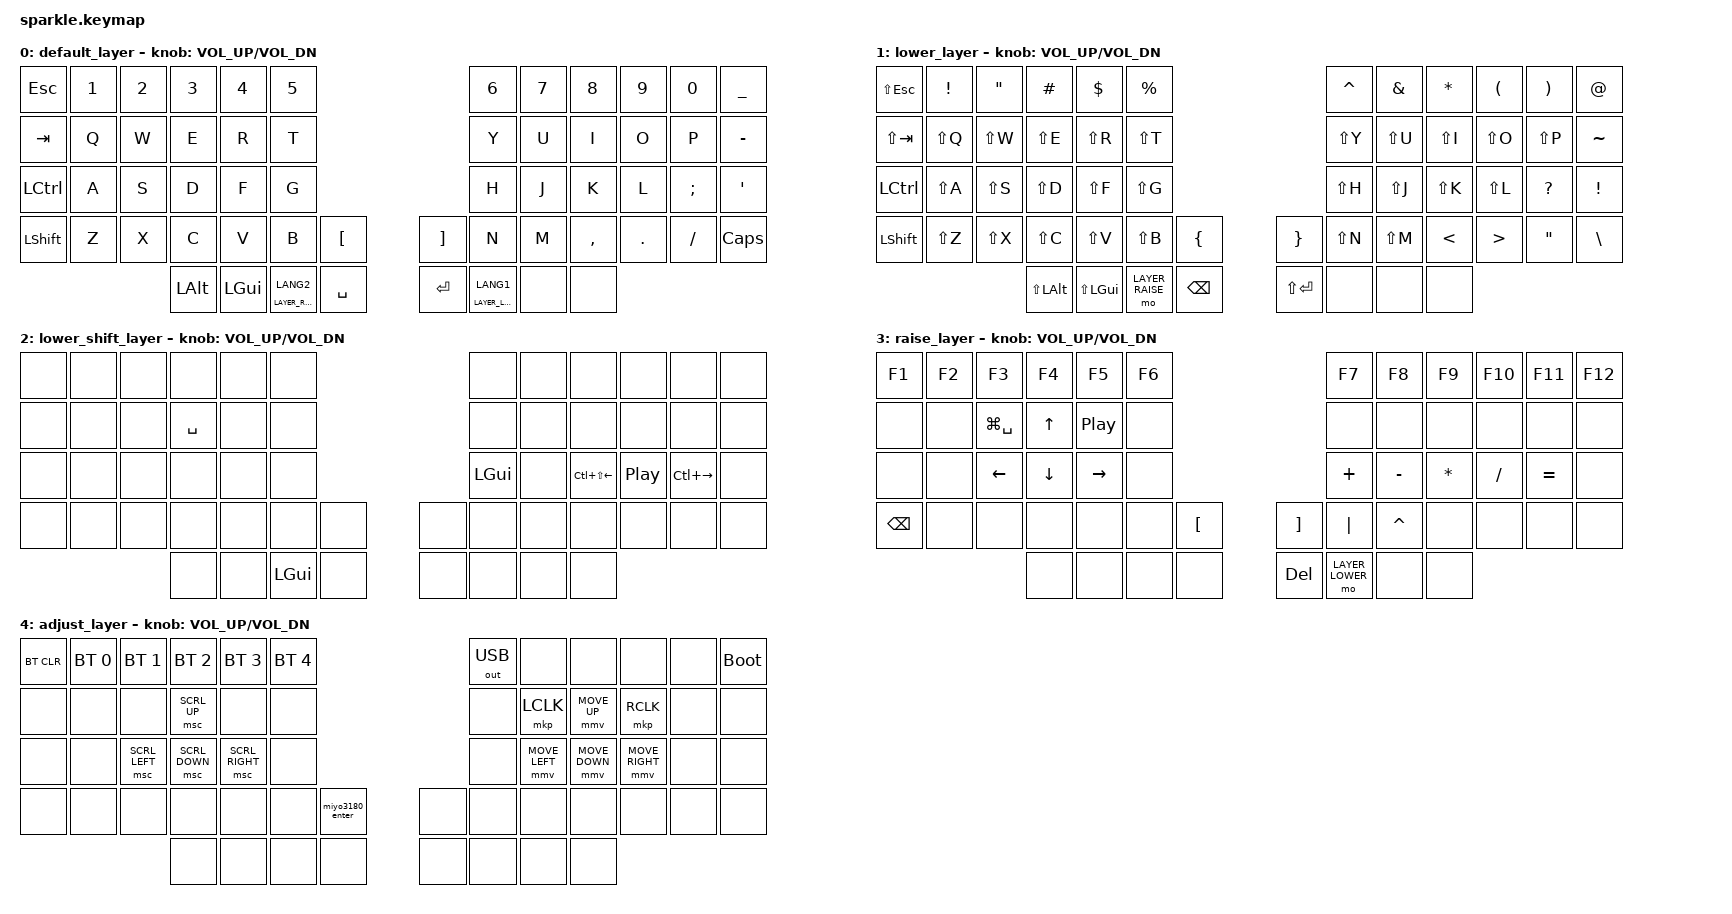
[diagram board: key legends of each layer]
/*
 * Copyright (c) 2020 The ZMK Contributors
 *
 * SPDX-License-Identifier: MIT
 */

#include <behaviors.dtsi>
#include <dt-bindings/zmk/keys.h>
#include <dt-bindings/zmk/bt.h>
#include <dt-bindings/zmk/ext_power.h>
#include <dt-bindings/zmk/outputs.h>

// Mouse emulation defaults (see: https://zmk.dev/docs/keymaps/behaviors/mouse-emulation)
// ZMK default MOVE is 600; bumping a bit makes cursor control usable but not jumpy.
#define ZMK_POINTING_DEFAULT_MOVE_VAL 250
// ZMK default SCRL is 10; keep a slightly faster step.
#define ZMK_POINTING_DEFAULT_SCRL_VAL 20
#include <dt-bindings/zmk/pointing.h>




// 記号系は ZMK 標準キーコード（US配列相当）を直接使う

// ZMK layer numbers are 0-based.
#define LAYER_DEFAULT      0
#define LAYER_LOWER        1
#define LAYER_LOWER_SHIFT  2
#define LAYER_RAISE        3
#define LAYER_ADJUST       4

// &lt (layer-tap) の判定時間(ミリ秒)。短くすると「ホールド」になりやすく、長くすると「タップ」になりやすい
#define LT_LANG_TAPPING_TERM_MS 160





/ {
    behaviors {
        miyo3180_enter: miyo3180_enter {
            compatible = "zmk,behavior-macro";
            label = "MIYO3180_ENTER";
            #binding-cells = <0>;
            wait-ms = <20>;
            tap-ms = <20>;
            bindings = <
                &kp M
                &kp I
                &kp Y
                &kp O
                &kp N3
                &kp N1
                &kp N8
                &kp N0
                &kp RET
            >;
        };

        // &lt LAYER_RAISE LANG2 / &lt LAYER_LOWER LANG1 の判定時間を個別に調整したい場合は
        // ここ( tapping-term-ms )を変更して、下の keymap では &lt_* を使う
        lt_raise_lang2: lt_raise_lang2 {
            compatible = "zmk,behavior-hold-tap";
            label = "LT_RAISE_LANG2";
            #binding-cells = <2>;
            tapping-term-ms = <LT_LANG_TAPPING_TERM_MS>;
            flavor = "tap-preferred";
            bindings = <&mo &kp>;
        };

        lt_lower_lang1: lt_lower_lang1 {
            compatible = "zmk,behavior-hold-tap";
            label = "LT_LOWER_LANG1";
            #binding-cells = <2>;
            tapping-term-ms = <LT_LANG_TAPPING_TERM_MS>;
            flavor = "tap-preferred";
            bindings = <&mo &kp>;
        };
    };

     conditional_layers {
        compatible = "zmk,conditional-layers";

        tri_layer {
            if-layers = <LAYER_LOWER LAYER_RAISE>;
            then-layer = <LAYER_ADJUST>;
        };
    };

    keymap {
        compatible = "zmk,keymap";

        default_layer {
// ------------------------------------------------------------------------------------------------------------
// |  ESC  |  1  |  2  |  3   |  4   |  5   |                   |  6   |  7    |  8    |  9   |   0   |   `   |J
// |  TAB  |  Q  |  W  |  E   |  R   |  T   |                   |  Y   |  U    |  I    |  O   |   P   |   -   |@
// |  CTRL |  A  |  S  |  D   |  F   |  G   |                   |  H   |  J    |  K    |  L   |   ;   |   '   |
// | SHIFT |  Z  |  X  |  C   |  V   |  B   |   "["  |  |  "]"  |  N   |  M    |  ,    |  .   |   /   | SHIFT |
//                     | opt  | com  | LOWER|  SPACE |  | ENTER | RAISE| BSPC  | com   |
            bindings = <
                &kp ESC   &kp N1    &kp N2    &kp N3          &kp N4        &kp N5                       &kp N6        &kp N7        &kp N8       &kp N9      &kp N0        &kp UNDERSCORE
                &kp TAB   &kp Q     &kp W     &kp E           &kp R         &kp T                        &kp Y         &kp U         &kp I        &kp O       &kp P         &kp MINUS
                &kp LCTRL &kp A     &kp S     &kp D           &kp F         &kp G                        &kp H         &kp J         &kp K        &kp L       &kp SEMI      &kp SINGLE_QUOTE
                &kp LSHIFT &kp Z     &kp X     &kp C           &kp V         &kp B      &kp LEFT_BRACKET  &kp RIGHT_BRACKET &kp N     &kp M       &kp COMMA     &kp DOT     &kp FSLH &kp CAPS
                                           &kp LALT &kp LGUI  &lt_raise_lang2 LAYER_RAISE LANG2 &kp SPACE   &kp RET           &lt_lower_lang1 LAYER_LOWER LANG1 &none &none
            >;

            sensor-bindings = <&inc_dec_kp C_VOL_UP C_VOL_DN>;
        };

        lower_layer {
// -------------------------------------------------SHIFT-------------------------------------------------------lj
// | BTCLR | BT1 | BT2 |  BT3 |  BT4 |  BT5 |                   |      |       |       |      |       |       |o_o8ooo9k___@@??@@@
// |  F1   |  F2 |  F3 |  F4  |  F5  |  F6  |                   |  F7  |  F8   |  F9   |  F10 |  F11  |  F12  |sDDDDKKKK
// | BTCLR | BT1 | BT2 |  BT3 |  BT4 |  BT5 |                   |      |       |       |      |       |       |LJJ?J?JP_AMPERSAND
// |  F1   |  F2 |  F3 |  F4  |  F5  |  F6  |                   |  F7  |  F8   |  F9   |  F10 |  F11  |  F12  |
// |   `   |  !  |  @  |  #   |  $   |  %   |                   |  ^   |  &    |  *    |  (   |   )   |   ~   |・
// |       |     |     |      |      |      |        |  |       |      |  _    |  +    |  {   |   }   |  "|"  |######$$$$$$$%%%%%%^^^^^^^^^^^^^^^^^^^^^^^^
//                     |      |      |      |        |  |       |      |       |       |
            bindings = <
                &kp LS(ESC)   &kp EXCL    &kp DOUBLE_QUOTES         &kp HASH        &kp DLLR      &kp PRCNT                                       &kp CARET            &kp AMPERSAND     &kp ASTERISK       &kp LEFT_PARENTHESIS    &kp RIGHT_PARENTHESIS   &kp AT
                &kp LS(TAB)   &kp LS(Q)   &kp LS(W)   &kp LS(E)       &kp LS(R)     &kp LS(T)                                       &kp LS(Y)     &kp LS(U)     &kp LS(I)     &kp LS(O)   &kp LS(P)      &kp TILDE
                &kp LCTRL &kp LS(A)   &kp LS(S)   &kp LS(D)       &kp LS(F)     &kp LS(G)                                       &kp LS(H)     &kp LS(J)     &kp LS(K)     &kp LS(L)   &kp QMARK &kp EXCL
                &kp LSHIFT &kp LS(Z)   &kp LS(X)   &kp LS(C)       &kp LS(V)     &kp LS(B)    &kp LEFT_BRACE    &kp RIGHT_BRACE  &kp LS(N)    &kp LS(M)   &kp LT          &kp GT       &kp DOUBLE_QUOTES &kp BACKSLASH
                                                  &kp LS(LALT) &kp LS(LGUI)        &mo LAYER_RAISE     &kp BSPC     &kp LS(RET)            &none      &none         &none
            >;

            sensor-bindings = <&inc_dec_kp C_VOL_UP C_VOL_DN>;
    };                                  

        lower_shift_layer {
// ------------------------------------------------------------------------------------------------------------
// |      |     |     |      |      |      |                   |      |      |      |      |      |       |
// |      |     |     |      |      |      |                   |      |      |      |      |      |       |
// |      |     |     |      |      |      |                   |      |      |      |      |      |       |
// |      |     |     |      |      |      |        |  |       |      |      |      |      |      |       |
//                    |      |      |      |        |  |       |      |      |      |
            bindings = <
                &none &none &none &none &none &none   &none &none &none &none &none &none
                &none &none &none &kp SPACE &none &none   &none &none &none &none &none &none
                 &none &none &none &none &none &none  &kp LGUI &none &kp LC(LS(LEFT)) &kp C_PP &kp LC(RIGHT) &none  
                &none &none &none &none &none &none   &none &none &none &none &none &none &none &none
                                     &none &none &kp LGUI    &none &none &none &none &none
            >;

            sensor-bindings = <&inc_dec_kp C_VOL_UP C_VOL_DN>;
        };

        raise_layer {
// ------------------------------------------------------------------------------------------------------------
// |       |     |     |      |      |      |                   |      |       |       |      |       |       |a
// |   `   |  1  |  2  |  3   |  4   |  5   |                   |  6   |   7   |   8   |  9   |   0   |       |c
// |   F1  |  F2 |  F3 |  F4  |  F5  |  F6  |                   |      |   <-  |   v   |  ^   |  ->   |       |
// |   F7  |  F8 |  F9 |  F10 |  F11 |  F12 |        |  |       |  +   |   -   |   =   |  [   |   ]   |   \   |
//                     |      |      |      |        |  |       |      |       |       |
            bindings = <
                &kp F1    &kp F2         &kp F3       &kp F4           &kp F5         &kp F6                      &kp F7             &kp F8       &kp F9       &kp F10     &kp F11       &kp F12
                &none     &none          &kp LG(SPACE)        &kp UP             &kp C_PP          &none                       &none              &none        &none       &none       &none         &none
                &none    &none   &kp LEFT     &kp DOWN     &kp RIGHT   &none                 &kp PLUS        &kp MINUS   &kp ASTERISK    &kp SLASH    &kp EQUAL         &none
                &kp BSPC       &none          &none      &none     &none    &none &kp LEFT_BRACKET &kp RIGHT_BRACKET &kp PIPE       &kp CARET         &none     &none          &none        &none
                                         &none        &none            &none      &none   &kp DEL                 &mo LAYER_LOWER            &none        &none
            >;
                                                                                                                                   
            sensor-bindings = <&inc_dec_kp C_VOL_UP C_VOL_DN>;
        };

        adjust_layer {
// ------------------------------------------------------------------------------------------------------------
// |BT CLR | BT1 | BT2 | BT3  | BT4  | BT5  |                   |      |      |      |     |      | BOOT |
// |       |     |     |      |      |      |                   |      |      |      |      |      |      |
// |       |     |     |      |      |      |                   |      | Prev | Play | Next |      |      |
// |       |     |     |      |      |      |        |  |       | Mute | Vol- | Vol+ |      |      |      |
//                     |      |      |      |        |  |       |      |      |      |
            bindings = <
                &bt BT_CLR &bt BT_SEL 0   &bt BT_SEL 1   &bt BT_SEL 2   &bt BT_SEL 3   &bt BT_SEL 4             &out OUT_USB   &none         &none         &none         &none         &bootloader
                &none          &none          &none          &msc SCRL_UP          &none          &none                    &none  &mkp LCLK         &mmv MOVE_UP         &mkp RCLK                  &none         &none
                &none          &none          &msc SCRL_LEFT          &msc SCRL_DOWN          &msc SCRL_RIGHT &none                   &none        &mmv MOVE_LEFT    &mmv MOVE_DOWN     &mmv MOVE_RIGHT    &none         &none
                &none     &none &none &none   &none &none    &miyo3180_enter         &none &none &none    &none &none   &none       &none
                                                      &none   &none         &none          &none       &none         &none         &none         &none
            >;

            sensor-bindings = <&inc_dec_kp C_VOL_UP C_VOL_DN>;
        };
    };
};

/*
 * Mouse move acceleration tuning
 * - acceleration-exponent:
 *   0 = constant speed (no acceleration)
 *   1 = constant acceleration (default for &mmv)
 *   2 = stronger acceleration
 */
&mmv {
    time-to-max-speed-ms = <0>;
    acceleration-exponent = <0>;
};
